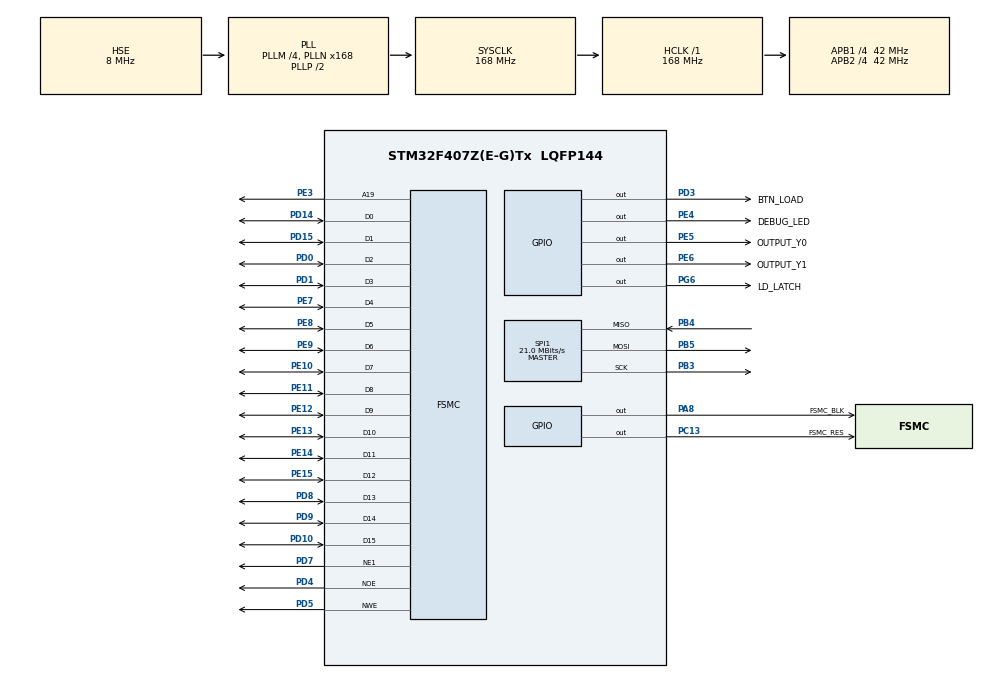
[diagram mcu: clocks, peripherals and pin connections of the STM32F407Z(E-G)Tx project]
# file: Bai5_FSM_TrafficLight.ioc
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FSMC.AddressSetupTime1=0xf
FSMC.BusTurnAroundDuration1=0
FSMC.DataSetupTime1=60
FSMC.ExtendedAddressSetupTime1=9
FSMC.ExtendedBusTurnAroundDuration1=0
FSMC.ExtendedDataSetupTime1=8
FSMC.ExtendedMode1=FSMC_EXTENDED_MODE_ENABLE
Mcu.Family=STM32F4
Mcu.Name=STM32F407Z(E-G)Tx
Mcu.Package=LQFP144
NVIC.PriorityGroup=NVIC_PRIORITYGROUP_4
NVIC.TIM2_IRQn=true\:0\:0\:false\:false\:true\:true\:true\:true
NVIC.TIM4_IRQn=true\:0\:0\:false\:false\:true\:true\:true\:true
PA13.Mode=Serial_Wire
PA13.Signal=SYS_JTMS-SWDIO
PA14.Mode=Serial_Wire
PA14.Signal=SYS_JTCK-SWCLK
PA8.GPIO_Label=FSMC_BLK
PA8.Signal=GPIO_Output
PB3.Mode=Full_Duplex_Master
PB3.Signal=SPI1_SCK
PB4.Mode=Full_Duplex_Master
PB4.Signal=SPI1_MISO
PB5.Mode=Full_Duplex_Master
PB5.Signal=SPI1_MOSI
PC13-ANTI_TAMP.GPIO_Label=FSMC_RES
PC13-ANTI_TAMP.Signal=GPIO_Output
PD0.Signal=FSMC_D2_DA2
PD1.Signal=FSMC_D3_DA3
PD10.Signal=FSMC_D15_DA15
PD14.Signal=FSMC_D0_DA0
PD15.Signal=FSMC_D1_DA1
PD3.GPIO_Label=BTN_LOAD
PD3.Signal=GPIO_Output
PD4.Signal=FSMC_NOE
PD5.Signal=FSMC_NWE
PD7.Mode=NorPsramChipSelect1_1
PD7.Signal=FSMC_NE1
PD8.Signal=FSMC_D13_DA13
PD9.Signal=FSMC_D14_DA14
PE10.Signal=FSMC_D7_DA7
PE11.Signal=FSMC_D8_DA8
PE12.Signal=FSMC_D9_DA9
PE13.Signal=FSMC_D10_DA10
PE14.Signal=FSMC_D11_DA11
PE15.Signal=FSMC_D12_DA12
PE3.Signal=FSMC_A19
PE4.GPIO_Label=DEBUG_LED
PE4.Signal=GPIO_Output
PE5.GPIO_Label=OUTPUT_Y0
PE5.Signal=GPIO_Output
PE6.GPIO_Label=OUTPUT_Y1
PE6.Signal=GPIO_Output
PE7.Signal=FSMC_D4_DA4
PE8.Signal=FSMC_D5_DA5
PE9.Signal=FSMC_D6_DA6
PG6.GPIO_Label=LD_LATCH
PG6.Signal=GPIO_Output
PH0-OSC_IN.Mode=HSE-External-Oscillator
PH0-OSC_IN.Signal=RCC_OSC_IN
PH1-OSC_OUT.Mode=HSE-External-Oscillator
PH1-OSC_OUT.Signal=RCC_OSC_OUT
ProjectManager.HeapSize=0x200
ProjectManager.StackSize=0x400
ProjectManager.TargetToolchain=STM32CubeIDE
RCC.48MHZClocksFreq_Value=84000000
RCC.AHBFreq_Value=168000000
RCC.APB1CLKDivider=RCC_HCLK_DIV4
RCC.APB1Freq_Value=42000000
RCC.APB1TimFreq_Value=84000000
RCC.APB2CLKDivider=RCC_HCLK_DIV4
RCC.APB2Freq_Value=42000000
RCC.APB2TimFreq_Value=84000000
RCC.CortexFreq_Value=168000000
RCC.HCLKFreq_Value=168000000
RCC.HSE_VALUE=8000000
RCC.HSI_VALUE=16000000
RCC.LSE_VALUE=32768
RCC.PLLM=4
RCC.PLLN=168
RCC.PLLSourceVirtual=RCC_PLLSOURCE_HSE
RCC.SYSCLKFreq_VALUE=168000000
RCC.SYSCLKSource=RCC_SYSCLKSOURCE_PLLCLK
RCC.VCOOutputFreq_Value=336000000
SH.FSMC_A19.0=FSMC_A19,A19_1
SH.FSMC_D0_DA0.0=FSMC_D0,16b-d1
SH.FSMC_D10_DA10.0=FSMC_D10,16b-d1
SH.FSMC_D11_DA11.0=FSMC_D11,16b-d1
SH.FSMC_D12_DA12.0=FSMC_D12,16b-d1
SH.FSMC_D13_DA13.0=FSMC_D13,16b-d1
SH.FSMC_D14_DA14.0=FSMC_D14,16b-d1
SH.FSMC_D15_DA15.0=FSMC_D15,16b-d1
SH.FSMC_D1_DA1.0=FSMC_D1,16b-d1
SH.FSMC_D2_DA2.0=FSMC_D2,16b-d1
SH.FSMC_D3_DA3.0=FSMC_D3,16b-d1
SH.FSMC_D4_DA4.0=FSMC_D4,16b-d1
SH.FSMC_D5_DA5.0=FSMC_D5,16b-d1
SH.FSMC_D6_DA6.0=FSMC_D6,16b-d1
SH.FSMC_D7_DA7.0=FSMC_D7,16b-d1
SH.FSMC_D8_DA8.0=FSMC_D8,16b-d1
SH.FSMC_D9_DA9.0=FSMC_D9,16b-d1
SH.FSMC_NOE.0=FSMC_NOE,Lcd1
SH.FSMC_NWE.0=FSMC_NWE,Lcd1
SPI1.CalculateBaudRate=21.0 MBits/s
SPI1.Direction=SPI_DIRECTION_2LINES
SPI1.Mode=SPI_MODE_MASTER
SPI1.VirtualType=VM_MASTER
TIM2.Period=100-1
TIM2.Prescaler=840-1
TIM4.Period=100-1
TIM4.Prescaler=840-1
VP_TIM2_VS_ClockSourceINT.Mode=Internal
VP_TIM4_VS_ClockSourceINT.Mode=Internal
board=custom

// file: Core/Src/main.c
/* USER CODE BEGIN Header */
/**
 ******************************************************************************
 * @file           : main.c
 * @brief          : Main program body
 ******************************************************************************
 * @attention
 *
 * <h2><center>&copy; Copyright (c) 2023 STMicroelectronics.
 * All rights reserved.</center></h2>
 *
 * This software component is licensed by ST under BSD 3-Clause license,
 * the "License"; You may not use this file except in compliance with the
 * License. You may obtain a copy of the License at:
 *                        opensource.org/licenses/BSD-3-Clause
 *
 ******************************************************************************
 */
/* USER CODE END Header */
#include "main.h"
#include "spi.h"
#include "tim.h"
#include "gpio.h"
#include "fsmc.h"

/* USER CODE BEGIN Includes */
#include "software_timer.h"
#include "button.h"
#include "lcd.h"
#include "picture.h"
#include "led_7seg.h"
/* USER CODE END Includes */

/* USER CODE BEGIN PD */
// graphic position
#define CX_GREEN1 	160
#define CY_GREEN1 	94
#define CX_RED1 	160
#define CY_RED1 	40
#define CX_YELLOW1 	160
#define CY_YELLOW1 	67
#define CX_GREEN2 	30
#define CY_GREEN2 	264
#define CX_RED2 	30
#define CY_RED2 	210
#define CX_YELLOW2 	30
#define CY_YELLOW2 	237
#define RADIUS 		12

// State of Traffic light
#define INIT 				0
#define PHASE1_GREEN        1
#define PHASE1_YELLOW       2
#define PHASE2_GREEN        3
#define PHASE2_YELLOW       4

/* USER CODE END PD */

/* USER CODE BEGIN PV */
int timeOfGreenPhase1 = 25;
int timeOfYellowPhase1 = 3;
int timeOfGreenPhase2 = 20;
int timeOfYellowPhase2 = 3;
int timeOfLight = 0;
int cntOfLight = 0;
int statusOfLight = INIT;
/* USER CODE END PV */

void SystemClock_Config(void);
/* USER CODE BEGIN PFP */
void system_init();

void AppTrafficLight();
/* USER CODE END PFP */

/* USER CODE BEGIN 0 */
//int count1_s = 0;
/* USER CODE END 0 */

int main(void) {

	/* MCU Configuration--------------------------------------------------------*/

	/* Reset of all peripherals, Initializes the Flash interface and the Systick. */
	HAL_Init();

	/* Configure the system clock */
	SystemClock_Config();

	/* Initialize all configured peripherals */
	MX_GPIO_Init();
	MX_TIM2_Init();
	MX_SPI1_Init();
	MX_FSMC_Init();
	MX_TIM4_Init();
	/* USER CODE BEGIN 2 */
	system_init();

	/* USER CODE END 2 */

	/* Infinite loop */
	/* USER CODE BEGIN WHILE */
	while (1) {
		while (!timer2_flag);
		timer2_flag = 0;

		button_scan();
		AppTrafficLight();
		/* USER CODE END WHILE */

	}
}

void SystemClock_Config(void) {
	RCC_OscInitTypeDef RCC_OscInitStruct = { 0 };
	RCC_ClkInitTypeDef RCC_ClkInitStruct = { 0 };

	/** Configure the main internal regulator output voltage
	 */
	__HAL_RCC_PWR_CLK_ENABLE();
	__HAL_PWR_VOLTAGESCALING_CONFIG(PWR_REGULATOR_VOLTAGE_SCALE1);

	/** Initializes the RCC Oscillators according to the specified parameters
	 * in the RCC_OscInitTypeDef structure.
	 */
	RCC_OscInitStruct.OscillatorType = RCC_OSCILLATORTYPE_HSE;
	RCC_OscInitStruct.HSEState = RCC_HSE_ON;
	RCC_OscInitStruct.PLL.PLLState = RCC_PLL_ON;
	RCC_OscInitStruct.PLL.PLLSource = RCC_PLLSOURCE_HSE;
	RCC_OscInitStruct.PLL.PLLM = 4;
	RCC_OscInitStruct.PLL.PLLN = 168;
	RCC_OscInitStruct.PLL.PLLP = RCC_PLLP_DIV2;
	RCC_OscInitStruct.PLL.PLLQ = 4;
	if (HAL_RCC_OscConfig(&RCC_OscInitStruct) != HAL_OK) {
		Error_Handler();
	}

	/** Initializes the CPU, AHB and APB buses clocks
	 */
	RCC_ClkInitStruct.ClockType = RCC_CLOCKTYPE_HCLK | RCC_CLOCKTYPE_SYSCLK
			| RCC_CLOCKTYPE_PCLK1 | RCC_CLOCKTYPE_PCLK2;
	RCC_ClkInitStruct.SYSCLKSource = RCC_SYSCLKSOURCE_PLLCLK;
	RCC_ClkInitStruct.AHBCLKDivider = RCC_SYSCLK_DIV1;
	RCC_ClkInitStruct.APB1CLKDivider = RCC_HCLK_DIV4;
	RCC_ClkInitStruct.APB2CLKDivider = RCC_HCLK_DIV4;

	if (HAL_RCC_ClockConfig(&RCC_ClkInitStruct, FLASH_LATENCY_5) != HAL_OK) {
		Error_Handler();
	}
}

/* USER CODE BEGIN 4 */
void system_init() {
	HAL_GPIO_WritePin(OUTPUT_Y0_GPIO_Port, OUTPUT_Y0_Pin, 0);
	HAL_GPIO_WritePin(OUTPUT_Y1_GPIO_Port, OUTPUT_Y1_Pin, 0);
	HAL_GPIO_WritePin(DEBUG_LED_GPIO_Port, DEBUG_LED_Pin, 0);

	led_7seg_init();
	button_init();
	lcd_init();

	timer2_init();
	timer2_set(50);
	timer4_init();
	timer4_set(1);

	HAL_Delay(1000);
}

void phase1Green() {
	lcd_draw_circle(CX_GREEN1, CY_GREEN1, GREEN, RADIUS, 1);
	lcd_draw_circle(CX_RED1, CY_RED1, 0x6351, RADIUS, 1);
	lcd_draw_circle(CX_YELLOW1, CY_YELLOW1, 0x6351, RADIUS, 1);

	lcd_draw_circle(CX_GREEN2, CY_GREEN2, 0x6351, RADIUS, 1);
	lcd_draw_circle(CX_RED2, CY_RED2, RED, RADIUS, 1);
	lcd_draw_circle(CX_YELLOW2, CY_YELLOW2, 0x6351, RADIUS, 1);
}

void phase1Yellow() {
	lcd_draw_circle(CX_GREEN1, CY_GREEN1, 0x6351, RADIUS, 1);
	lcd_draw_circle(CX_RED1, CY_RED1, 0x6351, RADIUS, 1);
	lcd_draw_circle(CX_YELLOW1, CY_YELLOW1, YELLOW, RADIUS, 1);

	lcd_draw_circle(CX_GREEN2, CY_GREEN2, 0x6351, RADIUS, 1);
	lcd_draw_circle(CX_RED2, CY_RED2, RED, RADIUS, 1);
	lcd_draw_circle(CX_YELLOW2, CY_YELLOW2, 0x6351, RADIUS, 1);
}

void phase2Green() {
	lcd_draw_circle(CX_GREEN2, CY_GREEN2, GREEN, RADIUS, 1);
	lcd_draw_circle(CX_RED2, CY_RED2, 0x6351, RADIUS, 1);
	lcd_draw_circle(CX_YELLOW2, CY_YELLOW2, 0x6351, RADIUS, 1);

	lcd_draw_circle(CX_GREEN1, CY_GREEN1, 0x6351, RADIUS, 1);
	lcd_draw_circle(CX_RED1, CY_RED1, RED, RADIUS, 1);
	lcd_draw_circle(CX_YELLOW1, CY_YELLOW1, 0x6351, RADIUS, 1);
}

void phase2Yellow() {
	lcd_draw_circle(CX_GREEN2, CY_GREEN2, 0x6351, RADIUS, 1);
	lcd_draw_circle(CX_RED2, CY_RED2, 0x6351, RADIUS, 1);
	lcd_draw_circle(CX_YELLOW2, CY_YELLOW2, YELLOW, RADIUS, 1);

	lcd_draw_circle(CX_GREEN1, CY_GREEN1, 0x6351, RADIUS, 1);
	lcd_draw_circle(CX_RED1, CY_RED1, RED, RADIUS, 1);
	lcd_draw_circle(CX_YELLOW1, CY_YELLOW1, 0x6351, RADIUS, 1);
}

void AppTrafficLight()
{
    cntOfLight = (cntOfLight + 1)%20;
    if (cntOfLight == 0){
    	//every 1s
    	timeOfLight --;
    }

    switch (statusOfLight)
    {
		case INIT:
			lcd_clear(BLACK);
			lcd_fill(0, 0, 240, 20, BLUE);
			lcd_show_string_center(0, 0, "Traffic light", WHITE, BLUE, 16, 0);
			lcd_fill(0, 300, 240, 320, BLUE);
			lcd_show_picture(0, 20, 240, 280, gImage_traffic);

			timeOfLight = timeOfGreenPhase1;
			statusOfLight = PHASE1_GREEN;
			break;
        case PHASE1_GREEN:
        	//set light
        	phase1Green();
            //print status
            lcd_show_string_center(0, 302, "PHASE1 GREEN ", WHITE, BLUE, 16, 0);
            //print counter phase1
    		lcd_show_int_num(75, 50, timeOfLight / 10, 1, RED, 0x47e8, 32);
    		lcd_show_int_num(90, 50, timeOfLight % 10, 1, RED, 0x47e8, 32);
    		//print counter phase2
    		lcd_show_int_num(15, 140, (timeOfLight + timeOfYellowPhase1) / 10, 1, RED,
    				0x47e8, 32);
    		lcd_show_int_num(30, 140, (timeOfLight + timeOfYellowPhase1) % 10, 1, RED,
    				0x47e8, 32);

            if (timeOfLight == 0)
            {
            	//timeout
                statusOfLight = PHASE1_YELLOW;
                timeOfLight = timeOfYellowPhase1;
            }
            break;
        case PHASE1_YELLOW:
        	//set light
        	phase1Yellow();
            //print status
            lcd_show_string_center(0, 302, "PHASE1 YELLOW", WHITE, BLUE, 16, 0);
            //print counter phase1
    		lcd_show_int_num(75, 50, timeOfLight / 10, 1, RED, 0x47e8, 32);
    		lcd_show_int_num(90, 50, timeOfLight % 10, 1, RED, 0x47e8, 32);
    		//print counter phase1
    		lcd_show_int_num(15, 140, timeOfLight / 10, 1, RED,
    				0x47e8, 32);
    		lcd_show_int_num(30, 140, timeOfLight % 10, 1, RED,
    				0x47e8, 32);

            if (timeOfLight == 0)
            {
            	//timeout
                statusOfLight = PHASE2_GREEN;
                timeOfLight = timeOfGreenPhase2;
            }            break;
        case PHASE2_GREEN:
        	//set light
        	phase2Green();
            //print status
            lcd_show_string_center(0, 302, "PHASE2 GREEN ", WHITE, BLUE, 16, 0);
            //print counter phase1
    		lcd_show_int_num(75, 50, (timeOfLight + timeOfYellowPhase2) / 10, 1, RED, 0x47e8, 32);
    		lcd_show_int_num(90, 50, (timeOfLight + timeOfYellowPhase2) % 10, 1, RED, 0x47e8, 32);
    		//print counter phase2
    		lcd_show_int_num(15, 140, timeOfLight / 10, 1, RED,
    				0x47e8, 32);
    		lcd_show_int_num(30, 140, timeOfLight % 10, 1, RED,
    				0x47e8, 32);

            if (timeOfLight == 0)
            {
            	//timeout
                statusOfLight = PHASE2_YELLOW;
                timeOfLight = timeOfYellowPhase2;
            }
            break;
        case PHASE2_YELLOW:
        	//set light
        	phase2Yellow();
            //print status
            lcd_show_string_center(0, 302, "PHASE2 YELLOW", WHITE, BLUE, 16, 0);
            //print counter phase1
    		lcd_show_int_num(75, 50, timeOfLight / 10, 1, RED, 0x47e8, 32);
    		lcd_show_int_num(90, 50, timeOfLight % 10, 1, RED, 0x47e8, 32);
    		//print counter phase2
    		lcd_show_int_num(15, 140, (timeOfLight) / 10, 1, RED,
    				0x47e8, 32);
    		lcd_show_int_num(30, 140, (timeOfLight) % 10, 1, RED,
    				0x47e8, 32);

            if (timeOfLight == 0)
            {
            	//timeout
                statusOfLight = PHASE1_GREEN;
                timeOfLight = timeOfGreenPhase1;
            }
            break;
        default:
            statusOfLight = PHASE1_GREEN;
            break;
    }
}
/* USER CODE END 4 */

void Error_Handler(void) {
	__disable_irq();
	while (1) {
	}
}
